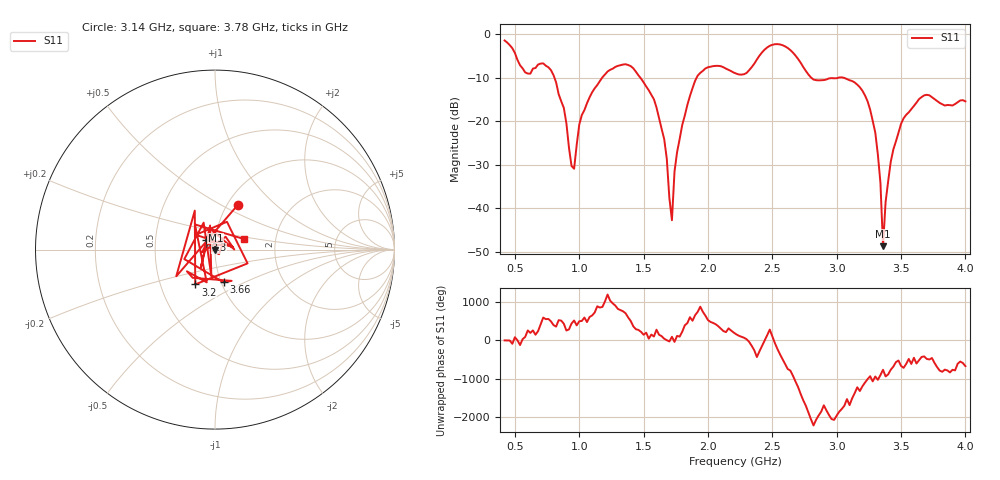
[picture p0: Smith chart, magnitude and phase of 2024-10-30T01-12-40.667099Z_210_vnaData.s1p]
!Created with skrf (http://scikit-rf.org).
# Hz S RI R 50.0
!freq ReS11 ImS11
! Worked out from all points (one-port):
!   180 points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, 420 MHz to 4 GHz, reference 50 ohm
!   lowest |S11| = -48.7 dB at 3.36 GHz (marker M1), VSWR 1.01, Z = 50.2 - j0.282 ohm
!   |S11| at or under -10 dB: 806.7 MHz to 1.179 GHz (372 MHz wide, 37.5 % of centre); 1.474 GHz to 1.912 GHz (438.8 MHz wide, 25.9 % of centre); 3.047 GHz to end of sweep (the widest 3 of 4)
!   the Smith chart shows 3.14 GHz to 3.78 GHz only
!   S11 on the Smith chart (normalised r, x): 3.14 GHz: 1.12, +0.60; 3.2 GHz: 0.75, -0.31; 3.3 GHz: 0.90, +0.09; 3.66 GHz: 1.03, -0.39; 3.78 GHz: 1.37, +0.17
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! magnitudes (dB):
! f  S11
! 420 MHz  -1.5
! 580 MHz  -8.8
! 780 MHz  -8.3
! 880 MHz  -17.0
! 960 MHz  -30.9
! 1 GHz  -20.8
! 1.08 GHz  -14.5
! 1.32 GHz  -7.2
! 1.58 GHz  -15.0
! 1.66 GHz  -24.2
! 1.72 GHz  -42.8
! 1.74 GHz  -31.6
! 1.78 GHz  -24.1
! 1.92 GHz  -9.6
! 2.22 GHz  -9.1
! 2.66 GHz  -4.3
! 2.82 GHz  -10.5
! 3.12 GHz  -10.8
! 3.14 GHz  -11.1
! 3.2 GHz  -13.0
! 3.3 GHz  -22.7
! 3.34 GHz  -34.2
! 3.36 GHz  -48.7
! 3.42 GHz  -29.3
! 3.56 GHz  -18.0
! 3.66 GHz  -14.5
! 3.78 GHz  -15.4
! 4 GHz  -15.5
